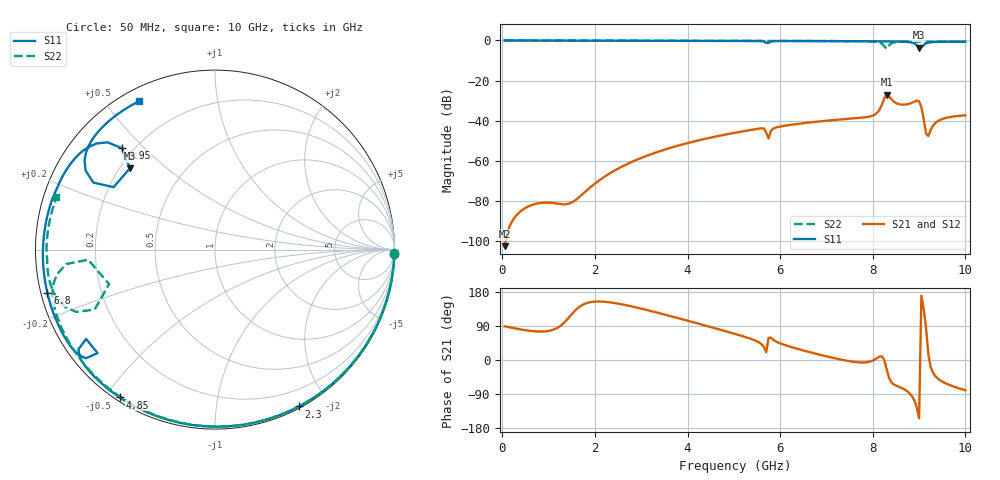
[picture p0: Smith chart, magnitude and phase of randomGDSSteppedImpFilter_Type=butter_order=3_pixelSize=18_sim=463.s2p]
! freq	dB(S11)	phase(S11)	dB(S12)	phase(S12)
!  dB(S21)	phase(S21)	dB(S22)	phase(S22)
!S-par simulation data
#  GHz  S  DB  R 50
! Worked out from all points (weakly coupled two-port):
!   200 points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, 50 MHz to 10 GHz, reference 50 ohm
!   highest |S21| = -26.96 dB at 8.3 GHz (marker M1); lowest = -102.5 dB at 50 MHz (marker M2)
!   lowest |S11| = -3.7 dB at 9 GHz (marker M3), VSWR 4.81, Z = 12 + j19.1 ohm
!   |S11| at or under -10 dB: nowhere
!   |S22| runs from -4.1 to 0.0 dB; largest |S21 - S12| = 0
!   S11 on the Smith chart (normalised r, x): 50 MHz: 0, -82; 2.3 GHz: 0.02, -1.67; 4.85 GHz: 0.01, -0.55; 6.8 GHz: 0.02, -0.13; 8.95 GHz: 0.16, +0.43; 10 GHz: 0.05, +0.61
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0.05  -0.00 -1.4  -102.47 89.0  -102.47 89.0  -0.00 -1.1
1.55  -0.05 -42.3  -80.01 127.8  -80.01 127.8  -0.04 -34.4
1.75  -0.06 -47.6  -76.20 146.5  -76.20 146.5  -0.05 -38.7
2.3  -0.08 -61.9  -66.51 152.5  -66.51 152.5  -0.06 -50.5
3.4  -0.11 -89.1  -55.16 123.3  -55.16 123.3  -0.10 -73.1
4.85  -0.18 -122.8  -46.74 75.0  -46.74 75.0  -0.15 -101.3
5.05  -0.19 -127.4  -45.87 68.0  -45.87 68.0  -0.16 -105.1
5.65  -0.51 -143.8  -43.88 34.0  -43.88 34.0  -0.19 -116.3
5.75  -1.19 -138.6  -48.83 58.4  -48.83 58.4  -0.20 -118.2
5.9  -0.31 -143.8  -43.44 49.5  -43.44 49.5  -0.21 -121.0
6.7  -0.30 -163.2  -40.70 18.8  -40.70 18.8  -0.27 -135.9
6.8  -0.31 -165.5  -40.45 15.7  -40.45 15.7  -0.27 -137.8
8  -0.43 165.8  -37.44 -1.5  -37.44 -1.5  -0.53 -164.1
8.3  -0.50 158.0  -26.96 -24.4  -26.96 -24.4  -4.14 -161.9
8.35  -0.51 156.6  -27.73 -46.8  -27.73 -46.8  -2.50 -153.5
8.6  -0.58 148.9  -31.88 -72.5  -31.88 -72.5  -0.62 -165.4
8.95  -2.30 132.6  -29.93 -125.3  -29.93 -125.3  -0.55 -175.0
9  -3.66 136.3  -30.33 -153.9  -30.33 -153.9  -0.57 -176.0
9.15  -1.46 148.6  -46.26 85.7  -46.26 85.7  -0.55 -179.3
9.2  -1.10 145.6  -47.60 15.3  -47.60 15.3  -0.55 179.6
9.4  -0.71 136.5  -40.25 -48.4  -40.25 -48.4  -0.56 175.1
10  -0.64 117.1  -37.28 -79.9  -37.28 -79.9  -0.63 161.7
